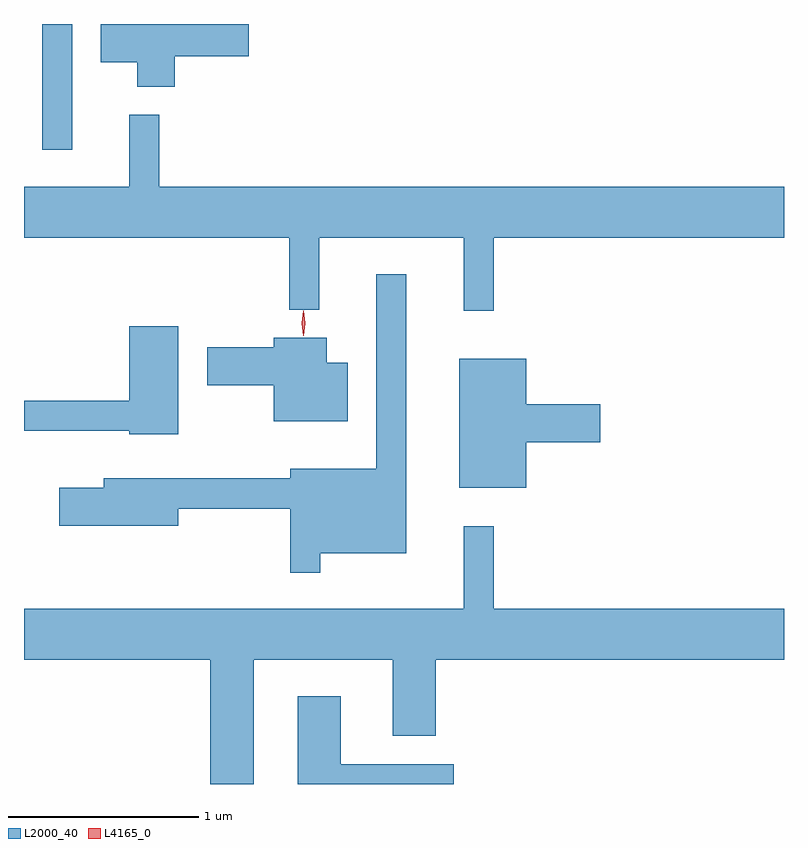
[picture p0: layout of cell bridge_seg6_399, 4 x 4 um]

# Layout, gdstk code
import gdstk
lib = gdstk.Library(unit=1e-6, precision=1e-09)
def R(c, l, rs):  # rectangles x0, y0, x1, y1
    for r in rs: c.add(gdstk.rectangle(r[:2], r[2:], *l))
def P(c, l, *ps):  # polygons
    for p in ps: c.add(gdstk.Polygon(p, *l))
L2000_40 = (2000, 40)
L4165_0 = (4165, 0)

bridge_seg6_399 = lib.new_cell('bridge_seg6_399')
R(bridge_seg6_399, L2000_40, [(916.326,1623.758,916.484,1624.421)])
P(bridge_seg6_399, L2000_40, [(917.024,1624.251),(917.414,1624.251),(917.414,1624.421),(916.636,1624.421),(916.636,1624.221),(916.826,1624.221),(916.826,1624.091),(917.024,1624.091)],
  [(918.704,1623.296),(920.231,1623.296),(920.231,1623.564),(916.944,1623.564),(916.944,1623.943),(916.786,1623.943),(916.786,1623.564),(916.231,1623.564),(916.231,1623.296),(917.626,1623.296),(917.626,1622.918),(917.784,1622.918),(917.784,1623.296),(918.546,1623.296),(918.546,1622.913),(918.704,1622.913)],
  [(917.789,1621.636),(918.244,1621.636),(918.244,1623.103),(918.086,1623.103),(918.086,1622.079),(917.631,1622.079),(917.631,1622.029),(916.651,1622.029),(916.651,1621.979),(916.416,1621.979),(916.416,1621.781),(917.044,1621.781),(917.044,1621.871),(917.631,1621.871),(917.631,1621.533),(917.789,1621.533)],
  [(917.044,1622.829),(916.786,1622.829),(916.786,1622.439),(916.231,1622.439),(916.231,1622.281),(916.786,1622.281),(916.786,1622.261),(917.044,1622.261)],
  [(917.934,1622.639),(917.824,1622.639),(917.824,1622.769),(917.546,1622.769),(917.546,1622.719),(917.196,1622.719),(917.196,1622.521),(917.546,1622.521),(917.546,1622.331),(917.934,1622.331)],
  [(918.874,1622.221),(919.264,1622.221),(919.264,1622.419),(918.874,1622.419),(918.874,1622.659),(918.521,1622.659),(918.521,1621.981),(918.874,1621.981)],
  [(917.439,1621.076),(918.171,1621.076),(918.171,1620.676),(918.399,1620.676),(918.399,1621.076),(920.231,1621.076),(920.231,1621.344),(918.704,1621.344),(918.704,1621.778),(918.546,1621.778),(918.546,1621.344),(916.231,1621.344),(916.231,1621.076),(917.211,1621.076),(917.211,1620.421),(917.439,1620.421)],
  [(918.494,1620.524),(917.899,1620.524),(917.899,1620.884),(917.671,1620.884),(917.671,1620.421),(918.494,1620.421)])
P(bridge_seg6_399, L4165_0, [(917.702,1622.779),(917.702,1622.78),(917.692,1622.845),(917.702,1622.911),(917.702,1622.911),(917.703,1622.911),(917.712,1622.845),(917.703,1622.78)])

lib.write_gds('bridge_seg6_399.gds')
